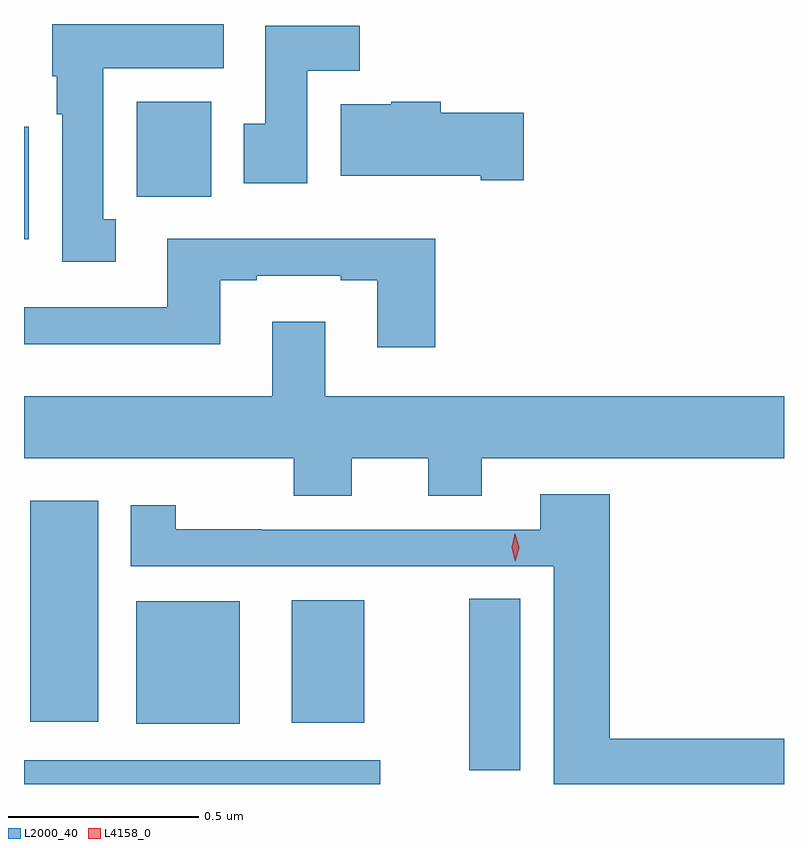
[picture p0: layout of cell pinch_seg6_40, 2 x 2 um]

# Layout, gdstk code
import gdstk
lib = gdstk.Library(unit=1e-6, precision=1e-09)
def R(c, l, rs):  # rectangles x0, y0, x1, y1
    for r in rs: c.add(gdstk.rectangle(r[:2], r[2:], *l))
def P(c, l, *ps):  # polygons
    for p in ps: c.add(gdstk.Polygon(p, *l))
L2000_40 = (2000, 40)
L4158_0 = (4158, 0)

pinch_seg6_40 = lib.new_cell('pinch_seg6_40')
R(pinch_seg6_40, L2000_40, [(948.726,966.459,949.663,966.522), (949.898,966.495,950.032,966.947), (949.022,966.617,949.294,966.94), (949.43,966.62,949.621,966.943), (948.743,966.623,948.922,967.204), (948.726,967.892,948.739,968.188), (949.023,968.004,949.219,968.254)])
P(pinch_seg6_40, L2000_40, [(948.967,967.945),(948.934,967.945),(948.934,968.342),(949.252,968.342),(949.252,968.459),(948.8,968.459),(948.8,968.322),(948.812,968.322),(948.812,968.222),(948.827,968.222),(948.827,967.833),(948.967,967.833)],
  [(949.471,968.336),(949.61,968.336),(949.61,968.455),(949.361,968.455),(949.361,968.196),(949.304,968.196),(949.304,968.04),(949.471,968.04)],
  [(950.041,968.226),(949.823,968.226),(949.823,968.254),(949.692,968.254),(949.692,968.248),(949.559,968.248),(949.559,968.06),(949.928,968.06),(949.928,968.048),(950.041,968.048)],
  [(949.808,967.894),(949.103,967.894),(949.103,967.713),(948.726,967.713),(948.726,967.616),(949.243,967.616),(949.243,967.785),(949.339,967.785),(949.339,967.797),(949.559,967.797),(949.559,967.785),(949.655,967.785),(949.655,967.608),(949.808,967.608)],
  [(949.588,967.316),(949.79,967.316),(949.79,967.217),(949.93,967.217),(949.93,967.316),(950.726,967.316),(950.726,967.48),(949.519,967.48),(949.519,967.675),(949.379,967.675),(949.379,967.48),(948.726,967.48),(948.726,967.316),(949.436,967.316),(949.436,967.217),(949.588,967.217)],
  [(950.726,966.578),(950.267,966.578),(950.267,967.222),(950.084,967.222),(950.084,967.128),(949.352,967.128),(949.352,967.13),(949.125,967.13),(949.125,967.192),(949.007,967.192),(949.007,967.032),(950.12,967.032),(950.12,966.459),(950.726,966.459)])
P(pinch_seg6_40, L4158_0, [(950.019,967.045),(950.019,967.045),(950.009,967.081),(950.018,967.117),(950.018,967.117),(950.019,967.117),(950.029,967.081),(950.019,967.045)])

lib.write_gds('pinch_seg6_40.gds')
